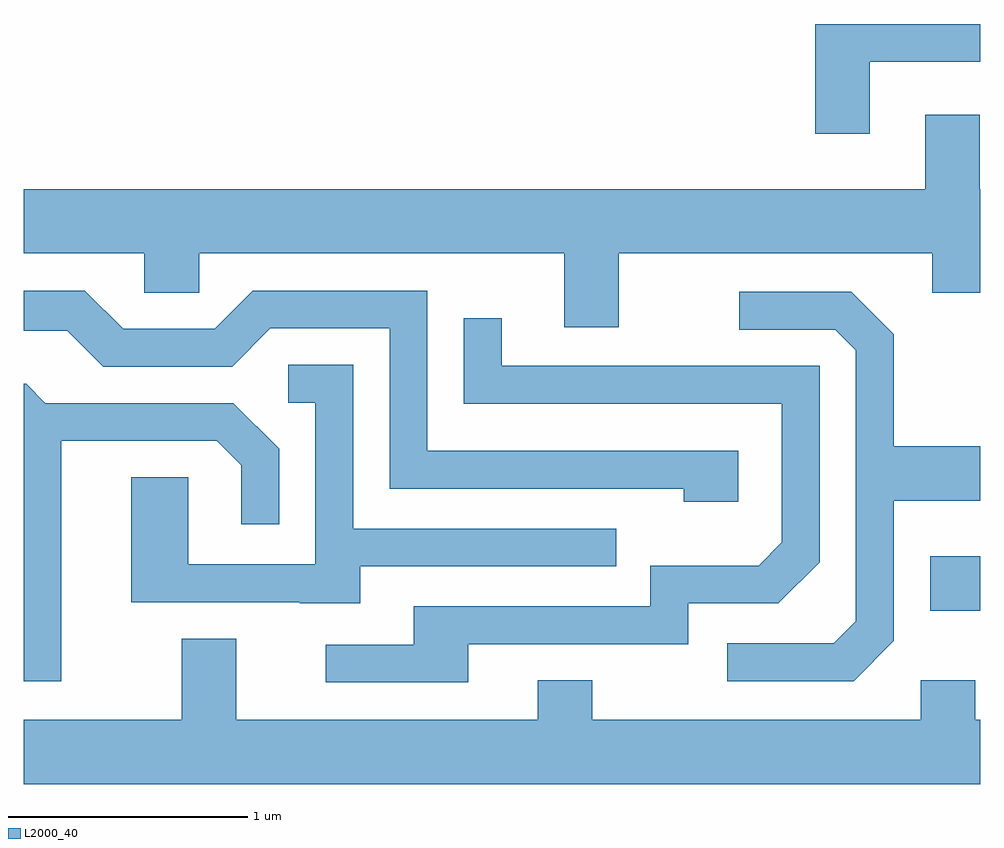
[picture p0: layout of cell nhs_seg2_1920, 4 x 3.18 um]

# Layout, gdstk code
import gdstk
lib = gdstk.Library(unit=1e-6, precision=1e-09)
def R(c, l, rs):  # rectangles x0, y0, x1, y1
    for r in rs: c.add(gdstk.rectangle(r[:2], r[2:], *l))
def P(c, l, *ps):  # polygons
    for p in ps: c.add(gdstk.Polygon(p, *l))
L2000_40 = (2000, 40)

nhs_seg2_1920 = lib.new_cell('nhs_seg2_1920')
R(nhs_seg2_1920, L2000_40, [(245.401,1011.301,245.611,1011.529)])
P(nhs_seg2_1920, L2000_40, [(245.149,1013.596),(245.611,1013.596),(245.611,1013.754),(244.921,1013.754),(244.921,1013.296),(245.149,1013.296)],
  [(245.381,1013.374),(245.381,1013.064),(241.611,1013.064),(241.611,1012.796),(242.116,1012.796),(242.116,1012.631),(242.344,1012.631),(242.344,1012.796),(243.871,1012.796),(243.871,1012.486),(244.099,1012.486),(244.099,1012.796),(245.411,1012.796),(245.411,1012.631),(245.611,1012.631),(245.611,1013.064),(245.609,1013.064),(245.609,1013.374)],
  [(244.599,1011.969),(243.299,1011.969),(243.299,1012.639),(242.569,1012.639),(242.409,1012.479),(242.027,1012.479),(241.867,1012.639),(241.611,1012.639),(241.611,1012.471),(241.794,1012.471),(241.944,1012.321),(242.482,1012.321),(242.642,1012.481),(243.141,1012.481),(243.141,1011.811),(244.371,1011.811),(244.371,1011.756),(244.599,1011.756)],
  [(245.249,1011.174),(245.249,1011.761),(245.611,1011.761),(245.611,1011.989),(245.249,1011.989),(245.249,1012.457),(245.072,1012.634),(244.603,1012.634),(244.603,1012.476),(245.004,1012.476),(245.091,1012.389),(245.091,1011.257),(244.999,1011.164),(244.553,1011.164),(244.553,1011.006),(245.082,1011.006)],
  [(243.469,1011.161),(244.389,1011.161),(244.389,1011.331),(244.767,1011.331),(244.939,1011.504),(244.939,1012.324),(243.609,1012.324),(243.609,1012.523),(243.451,1012.523),(243.451,1012.166),(244.781,1012.166),(244.781,1011.587),(244.684,1011.489),(244.231,1011.489),(244.231,1011.319),(243.241,1011.319),(243.241,1011.159),(242.873,1011.159),(242.873,1011.001),(243.469,1011.001)],
  [(243.019,1011.486),(244.088,1011.486),(244.088,1011.644),(242.989,1011.644),(242.989,1012.329),(242.718,1012.329),(242.718,1012.171),(242.831,1012.171),(242.831,1011.494),(242.299,1011.494),(242.299,1011.859),(242.061,1011.859),(242.061,1011.336),(242.765,1011.336),(242.765,1011.331),(243.019,1011.331)],
  [(241.769,1012.011),(242.419,1012.011),(242.521,1011.909),(242.521,1011.663),(242.679,1011.663),(242.679,1011.977),(242.487,1012.169),(241.702,1012.169),(241.622,1012.249),(241.611,1012.249),(241.611,1011.006),(241.769,1011.006)],
  [(243.761,1011.009),(243.761,1010.844),(242.499,1010.844),(242.499,1011.184),(242.271,1011.184),(242.271,1010.844),(241.611,1010.844),(241.611,1010.576),(245.611,1010.576),(245.611,1010.844),(245.589,1010.844),(245.589,1011.009),(245.361,1011.009),(245.361,1010.844),(243.989,1010.844),(243.989,1011.009)])

lib.write_gds('nhs_seg2_1920.gds')
